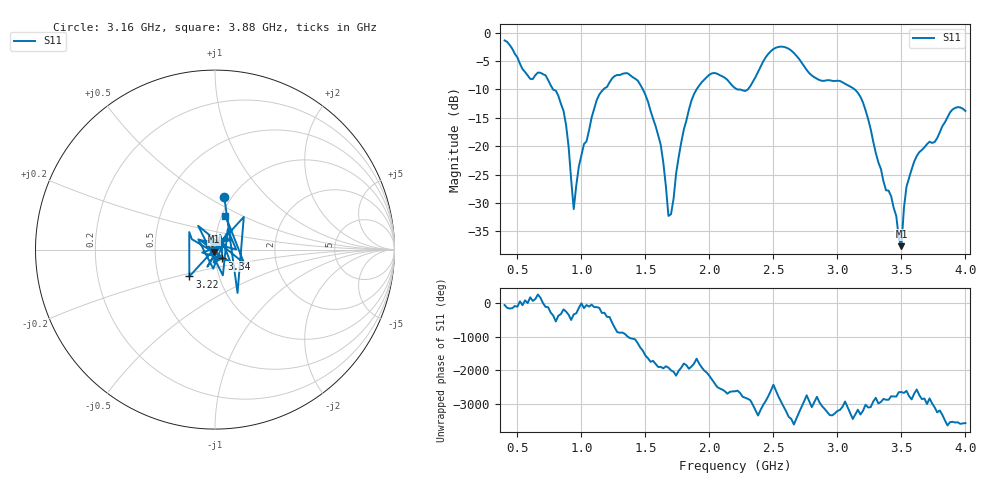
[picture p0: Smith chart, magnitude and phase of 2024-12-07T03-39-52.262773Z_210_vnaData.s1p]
!Created with skrf (http://scikit-rf.org).
# Hz S RI R 50.0
!freq ReS11 ImS11
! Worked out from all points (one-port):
!   181 points, 400 MHz to 4 GHz, reference 50 ohm
!   lowest |S11| = -37.6 dB at 3.5 GHz (marker M1), VSWR 1.03, Z = 49.3 - j1.12 ohm
!   |S11| at or under -10 dB: 778.6 MHz to 1.172 GHz (393.5 MHz wide, 40.3 % of centre); 1.481 GHz to 1.9 GHz (419.2 MHz wide, 24.8 % of centre); 3.135 GHz to end of sweep (the widest 3 of 4)
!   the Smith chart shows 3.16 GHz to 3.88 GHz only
!   S11 on the Smith chart (normalised r, x): 3.16 GHz: 0.93, +0.59; 3.22 GHz: 0.72, -0.23; 3.34 GHz: 1.08, -0.11; 3.88 GHz: 1.04, +0.41
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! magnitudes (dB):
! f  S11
! 400 MHz  -1.4
! 600 MHz  -8.1
! 720 MHz  -7.5
! 860 MHz  -13.8
! 900 MHz  -20.1
! 940 MHz  -31.1
! 980 MHz  -23.6
! 1.12 GHz  -11.9
! 1.3 GHz  -7.5
! 1.52 GHz  -12.1
! 1.62 GHz  -19.8
! 1.68 GHz  -32.3
! 1.76 GHz  -21.9
! 1.86 GHz  -11.9
! 1.94 GHz  -8.7
! 2.2 GHz  -9.8
! 2.3 GHz  -10.0
! 2.5 GHz  -2.9
! 2.66 GHz  -3.6
! 3.1 GHz  -9.5
! 3.16 GHz  -10.6
! 3.22 GHz  -13.7
! 3.34 GHz  -24.0
! 3.5 GHz  -37.6
! 3.52 GHz  -30.9
! 3.56 GHz  -25.6
! 3.88 GHz  -14.0
! 4 GHz  -13.8
